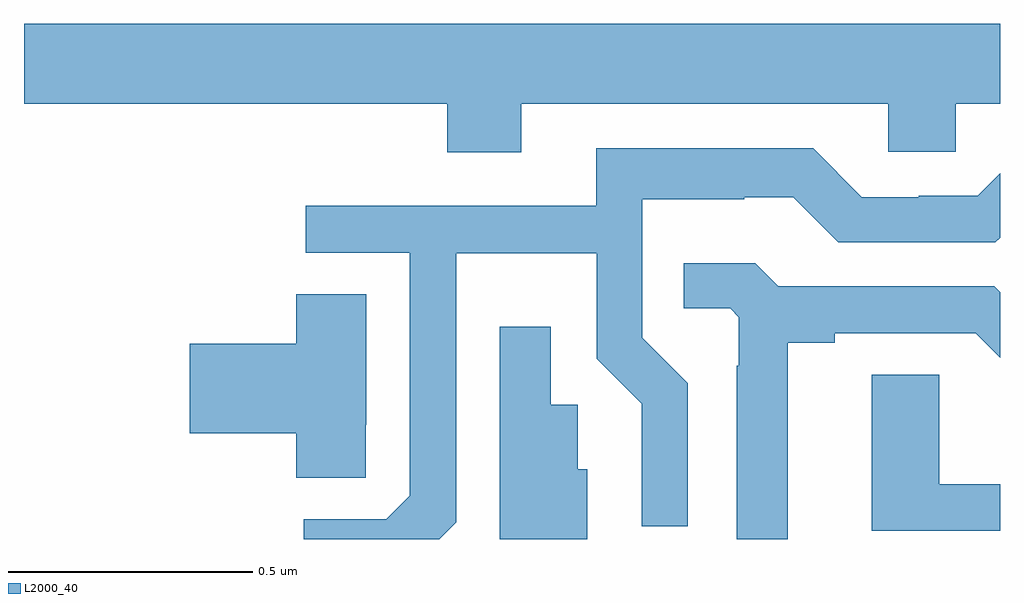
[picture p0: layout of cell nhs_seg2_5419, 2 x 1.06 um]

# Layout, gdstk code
import gdstk
lib = gdstk.Library(unit=1e-6, precision=1e-09)
def P(c, l, *ps):  # polygons
    for p in ps: c.add(gdstk.Polygon(p, *l))
L2000_40 = (2000, 40)

nhs_seg2_5419 = lib.new_cell('nhs_seg2_5419')
P(nhs_seg2_5419, L2000_40, [(180.019,591.692),(180.771,591.692),(180.771,591.594),(180.909,591.594),(180.909,591.692),(181,591.692),(181,591.856),(179,591.856),(179,591.692),(179.867,591.692),(179.867,591.593),(180.019,591.593)],
  [(179.886,590.835),(179.886,591.386),(180.174,591.386),(180.174,591.17),(180.266,591.078),(180.266,590.826),(180.36,590.826),(180.36,591.12),(180.267,591.213),(180.267,591.497),(180.476,591.497),(180.476,591.501),(180.576,591.501),(180.669,591.408),(180.99,591.408),(181,591.418),(181,591.55),(180.954,591.504),(180.834,591.504),(180.834,591.501),(180.717,591.501),(180.617,591.601),(180.173,591.601),(180.173,591.483),(179.577,591.483),(179.577,591.387),(179.79,591.387),(179.79,590.889),(179.742,590.841),(179.573,590.841),(179.573,590.8),(179.851,590.8)],
  [(180.565,591.202),(180.661,591.202),(180.661,591.222),(180.95,591.222),(181,591.172),(181,591.306),(180.988,591.318),(180.546,591.318),(180.498,591.365),(180.352,591.365),(180.352,591.273),(180.447,591.273),(180.465,591.255),(180.465,591.155),(180.461,591.155),(180.461,590.8),(180.565,590.8)],
  [(179.7,591.034),(179.701,591.034),(179.701,591.302),(179.558,591.302),(179.558,591.2),(179.34,591.2),(179.34,591.017),(179.558,591.017),(179.558,590.926),(179.7,590.926)],
  [(180.154,590.943),(180.135,590.943),(180.135,591.075),(180.079,591.075),(180.079,591.235),(179.975,591.235),(179.975,590.8),(180.154,590.8)],
  [(181,590.913),(180.876,590.913),(180.876,591.137),(180.737,591.137),(180.737,590.817),(181,590.817)])

lib.write_gds('nhs_seg2_5419.gds')
